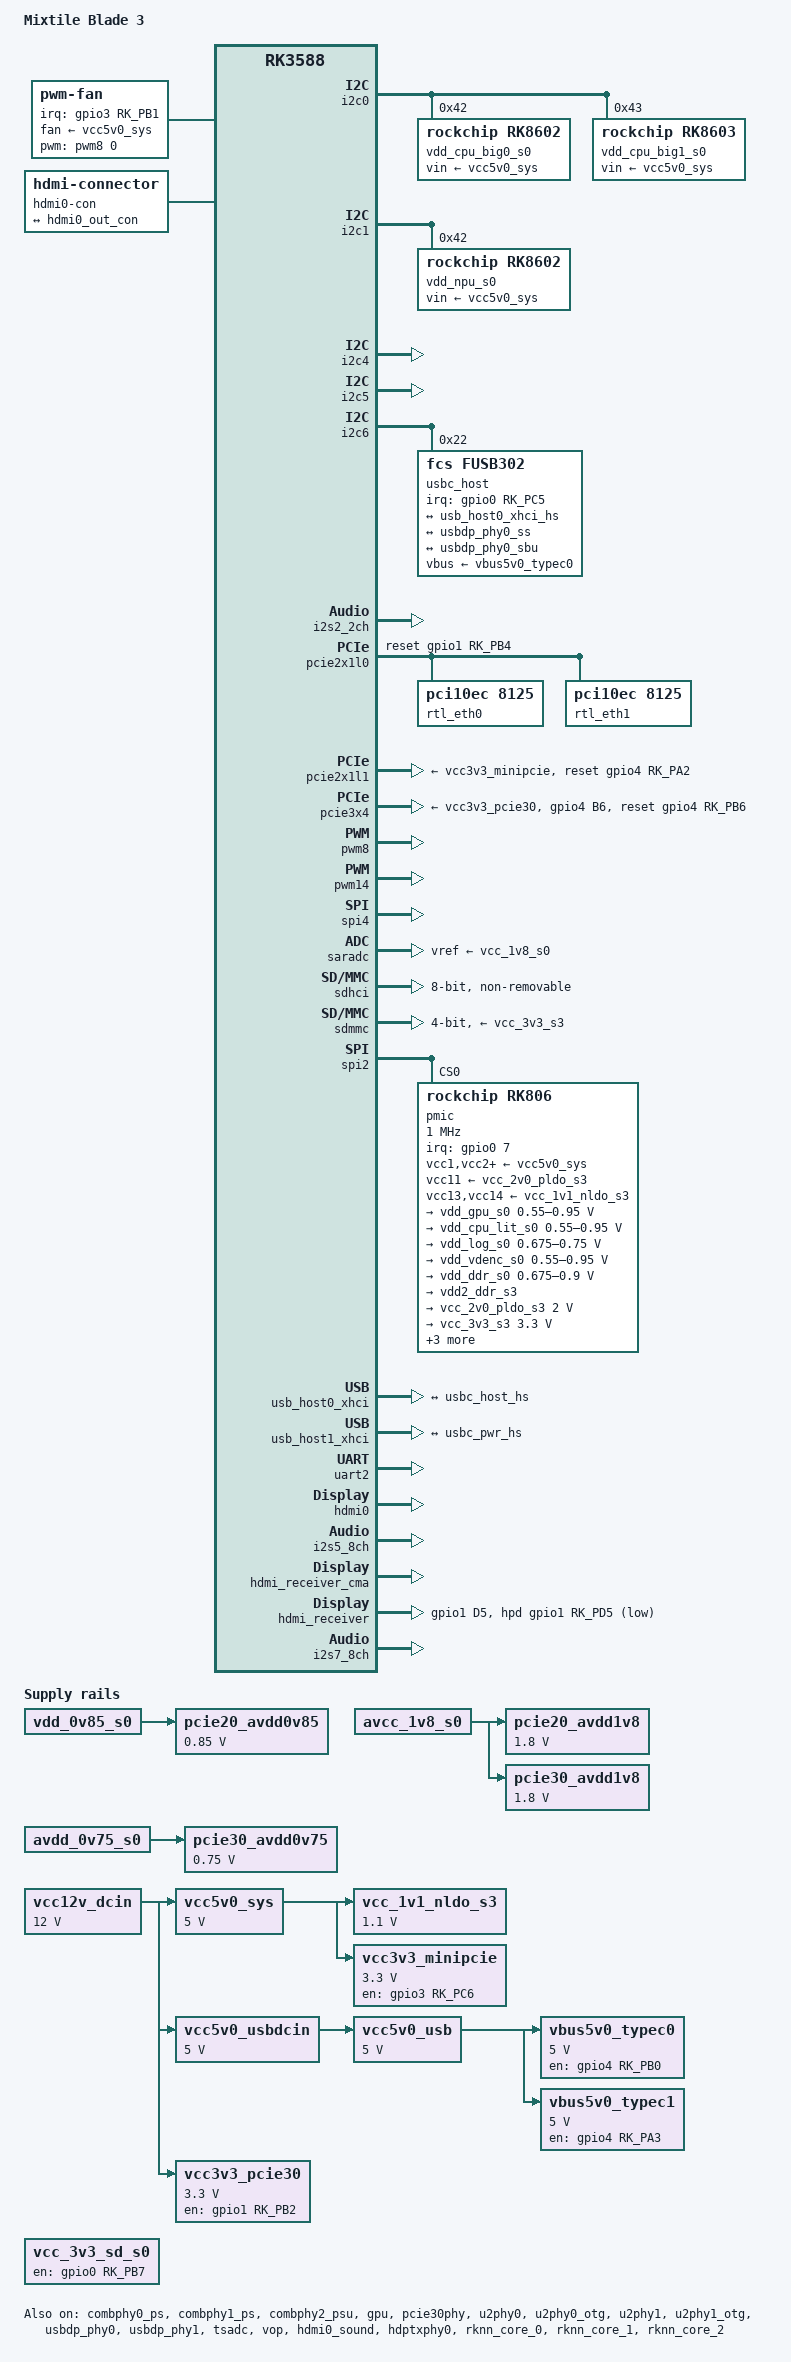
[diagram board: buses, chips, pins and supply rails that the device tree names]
// SPDX-License-Identifier: (GPL-2.0+ OR MIT)

// rpardini, mid 2026:
// - Any and all help is appreciated. Those boards are nice, they've 2 FUSB302, and fancy PCIe Endpoint mode stuff.
// - Schematics we have access to are in https://damwold5pt25n.cloudfront.net/blade3/file/Schematic_Blade_3_v1.1.0.pdf

/dts-v1/;

#include <dt-bindings/gpio/gpio.h>
#include <dt-bindings/pinctrl/rockchip.h>
#include <dt-bindings/usb/pd.h>
#include <dt-bindings/soc/rockchip,vop2.h>
#include "rk3588.dtsi"

/ {
	model = "Mixtile Blade 3";
	compatible = "mixtile,blade3", "rockchip,rk3588";

	aliases {
		ethernet0 = &rtl_eth0;
		ethernet1 = &rtl_eth1;
		mmc0 = &sdhci;
		mmc1 = &sdmmc;
		serial2 = &uart2;
	};

	chosen {
		stdout-path = "serial2:1500000n8";
	};

	fan: pwm-fan {
		compatible = "pwm-fan";
		#cooling-cells = <2>;
		cooling-levels = <0 50 100 150 200 255>;
		pwms = <&pwm8 0 250000 0>; /* aka GPIO3_D0 / PWM8_M2 On 4-pin fan header */
		fan-supply = <&vcc5v0_sys>;
		pulses-per-revolution = <2>;
		interrupt-parent = <&gpio3>;  /* GPIO GPIO3_B1/PWM2_M1 */
		interrupts = <RK_PB1 IRQ_TYPE_EDGE_FALLING>; // On 4-pin fan header
		status = "okay";
	};

	vcc12v_dcin: vcc12v-dcin-regulator {
		compatible = "regulator-fixed";
		regulator-name = "vcc12v_dcin";
		regulator-always-on;
		regulator-boot-on;
		regulator-min-microvolt = <12000000>;
		regulator-max-microvolt = <12000000>;
	};

	vcc5v0_sys: vcc5v0-sys-regulator {
		compatible = "regulator-fixed";
		regulator-name = "vcc5v0_sys";
		regulator-always-on;
		regulator-boot-on;
		regulator-min-microvolt = <5000000>;
		regulator-max-microvolt = <5000000>;
		vin-supply = <&vcc12v_dcin>;
	};

	vcc5v0_usbdcin: vcc5v0-usbdcin-regulator {
		compatible = "regulator-fixed";
		regulator-name = "vcc5v0_usbdcin";
		regulator-always-on;
		regulator-boot-on;
		regulator-min-microvolt = <5000000>;
		regulator-max-microvolt = <5000000>;
		vin-supply = <&vcc12v_dcin>;
	};

	vcc5v0_usb: vcc5v0-usb-regulator {
		compatible = "regulator-fixed";
		regulator-name = "vcc5v0_usb";
		regulator-always-on;
		regulator-boot-on;
		regulator-min-microvolt = <5000000>;
		regulator-max-microvolt = <5000000>;
		vin-supply = <&vcc5v0_usbdcin>;
	};

	/*
	 * Type-C VBUS source rails, gated by GPIO and managed by the tcpm/fusb302
	 * stack (vendor-faithful: NOT always-on). GPIO4_B0 (TYPEC5V_PWREN0) is the
	 * pin the vendor DT also labels vcc5v0_host_en: on this board it additionally
	 * gates power reaching the ASM1182e PCIe switch + RTL8125B NICs. If the
	 * switch/NICs fail to power on mainline (tcpm may not hold VBUS the way the
	 * vendor stack does), add "regulator-always-on;" to vbus5v0_typec0 to force
	 * GPIO4_B0 permanently high (Rock 5B vcc5v0_host pattern) -- this reliably
	 * powers the switch at the cost of Type-C0's ability to source 5V, an
	 * acceptable trade for a 12V-powered board.
	 */
	vbus5v0_typec0: vbus5v0-typec0-regulator {
		compatible = "regulator-fixed";
		regulator-name = "vbus5v0_typec0";
		regulator-min-microvolt = <5000000>;
		regulator-max-microvolt = <5000000>;
		enable-active-high;
		gpio = <&gpio4 RK_PB0 GPIO_ACTIVE_HIGH>;
		vin-supply = <&vcc5v0_usb>;
		pinctrl-names = "default";
		pinctrl-0 = <&typec5v_pwren0>;
	};

	vbus5v0_typec1: vbus5v0-typec1-regulator {
		compatible = "regulator-fixed";
		regulator-name = "vbus5v0_typec1";
		regulator-min-microvolt = <5000000>;
		regulator-max-microvolt = <5000000>;
		enable-active-high;
		gpio = <&gpio4 RK_PA3 GPIO_ACTIVE_HIGH>;
		vin-supply = <&vcc5v0_usb>;
		pinctrl-names = "default";
		pinctrl-0 = <&typec5v_pwren1>;
	};

	pcie20_avdd0v85: pcie20-avdd0v85-regulator {
		compatible = "regulator-fixed";
		regulator-name = "pcie20_avdd0v85";
		regulator-boot-on;
		regulator-always-on;
		regulator-min-microvolt = <850000>;
		regulator-max-microvolt = <850000>;
		vin-supply = <&vdd_0v85_s0>;
	};

	pcie20_avdd1v8: pcie20-avdd1v8-regulator {
		compatible = "regulator-fixed";
		regulator-name = "pcie20_avdd1v8";
		regulator-boot-on;
		regulator-always-on;
		regulator-min-microvolt = <1800000>;
		regulator-max-microvolt = <1800000>;
		vin-supply = <&avcc_1v8_s0>;
	};

	pcie30_avdd0v75: pcie30-avdd0v75-regulator {
		compatible = "regulator-fixed";
		regulator-name = "pcie30_avdd0v75";
		regulator-boot-on;
		regulator-always-on;
		regulator-min-microvolt = <750000>;
		regulator-max-microvolt = <750000>;
		vin-supply = <&avdd_0v75_s0>;
	};

	pcie30_avdd1v8: pcie30-avdd1v8-regulator {
		compatible = "regulator-fixed";
		regulator-name = "pcie30_avdd1v8";
		regulator-boot-on;
		regulator-always-on;
		regulator-min-microvolt = <1800000>;
		regulator-max-microvolt = <1800000>;
		vin-supply = <&avcc_1v8_s0>;
	};

	vcc3v3_pcie30: vcc3v3-pcie30-regulator {
		compatible = "regulator-fixed";
		regulator-name = "vcc3v3_pcie30";
		regulator-min-microvolt = <3300000>;
		regulator-max-microvolt = <3300000>;
		enable-active-high;
		regulator-boot-on;
		regulator-always-on;
		gpios = <&gpio1 RK_PB2 GPIO_ACTIVE_HIGH>;
		startup-delay-us = <5000>;
		vin-supply = <&vcc12v_dcin>;
		pinctrl-names = "default";
		pinctrl-0 = <&pcie3_vcc3v3_en>;
	};

	vcc_3v3_sd_s0: vcc-3v3-sd-s0-regulator {
		compatible = "regulator-fixed";
		regulator-name = "vcc_3v3_sd_s0";
		gpio = <&gpio0 RK_PB7 GPIO_ACTIVE_HIGH>;
		pinctrl-names = "default";
		pinctrl-0 = <&sdmmc_pwr>;
		enable-active-high;
	};

	vcc_1v1_nldo_s3: vcc-1v1-nldo-s3-regulator {
		compatible = "regulator-fixed";
		regulator-name = "vcc_1v1_nldo_s3";
		regulator-always-on;
		regulator-boot-on;
		regulator-min-microvolt = <1100000>;
		regulator-max-microvolt = <1100000>;
		vin-supply = <&vcc5v0_sys>;
	};

	/* miniPCIe 2.0 slot power enable; GPIO3_C6 = PCIE20_PWREN (schematic) */
	vcc3v3_minipcie: vcc3v3-minipcie-regulator {
		compatible = "regulator-fixed";
		regulator-name = "vcc3v3_minipcie";
		regulator-min-microvolt = <3300000>;
		regulator-max-microvolt = <3300000>;
		enable-active-high;
		gpio = <&gpio3 RK_PC6 GPIO_ACTIVE_HIGH>;
		startup-delay-us = <5000>;
		vin-supply = <&vcc5v0_sys>;
		pinctrl-names = "default";
		pinctrl-0 = <&minipcie_pwren>;
	};

	hdmi0-con {
		compatible = "hdmi-connector";
		type = "a";

		port {
			hdmi0_con_in: endpoint {
				remote-endpoint = <&hdmi0_out_con>;
			};
		};
	};
};

&combphy0_ps {
	status = "okay";
};

&combphy1_ps {
	status = "okay";
};

&combphy2_psu {
	status = "okay";
};

&cpu_b0 {
	cpu-supply = <&vdd_cpu_big0_s0>;
	mem-supply = <&vdd_cpu_big0_mem_s0>;
};

&cpu_b1 {
	cpu-supply = <&vdd_cpu_big0_s0>;
	mem-supply = <&vdd_cpu_big0_mem_s0>;
};

&cpu_b2 {
	cpu-supply = <&vdd_cpu_big1_s0>;
	mem-supply = <&vdd_cpu_big1_mem_s0>;
};

&cpu_b3 {
	cpu-supply = <&vdd_cpu_big1_s0>;
	mem-supply = <&vdd_cpu_big1_mem_s0>;
};

&cpu_l0 {
	cpu-supply = <&vdd_cpu_lit_s0>;
	mem-supply = <&vdd_cpu_lit_mem_s0>;
};

&cpu_l1 {
	cpu-supply = <&vdd_cpu_lit_s0>;
	mem-supply = <&vdd_cpu_lit_mem_s0>;
};

&cpu_l2 {
	cpu-supply = <&vdd_cpu_lit_s0>;
	mem-supply = <&vdd_cpu_lit_mem_s0>;
};

&cpu_l3 {
	cpu-supply = <&vdd_cpu_lit_s0>;
	mem-supply = <&vdd_cpu_lit_mem_s0>;
};

&gpu {
	mali-supply = <&vdd_gpu_s0>;
	status = "okay";
};

&i2c0 {
	pinctrl-names = "default";
	pinctrl-0 = <&i2c0m2_xfer>;
	status = "okay";

	vdd_cpu_big0_s0: vdd_cpu_big0_mem_s0: regulator@42 {
		compatible = "rockchip,rk8602";
		reg = <0x42>;
		fcs,suspend-voltage-selector = <1>;
		regulator-name = "vdd_cpu_big0_s0";
		regulator-always-on;
		regulator-boot-on;
		regulator-min-microvolt = <550000>;
		regulator-max-microvolt = <1050000>;
		regulator-ramp-delay = <2300>;
		vin-supply = <&vcc5v0_sys>;

		regulator-state-mem {
			regulator-off-in-suspend;
		};
	};

	vdd_cpu_big1_s0: vdd_cpu_big1_mem_s0: regulator@43 {
		compatible = "rockchip,rk8603", "rockchip,rk8602";
		reg = <0x43>;
		fcs,suspend-voltage-selector = <1>;
		regulator-name = "vdd_cpu_big1_s0";
		regulator-always-on;
		regulator-boot-on;
		regulator-min-microvolt = <550000>;
		regulator-max-microvolt = <1050000>;
		regulator-ramp-delay = <2300>;
		vin-supply = <&vcc5v0_sys>;

		regulator-state-mem {
			regulator-off-in-suspend;
		};
	};
};

&i2c1 {
	pinctrl-names = "default";
	pinctrl-0 = <&i2c1m2_xfer>;
	status = "okay";

	vdd_npu_s0: regulator@42 {
		compatible = "rockchip,rk8602";
		reg = <0x42>;
		fcs,suspend-voltage-selector = <1>;
		regulator-name = "vdd_npu_s0";
		regulator-boot-on;
		regulator-min-microvolt = <550000>;
		regulator-max-microvolt = <950000>;
		regulator-ramp-delay = <2300>;
		vin-supply = <&vcc5v0_sys>;

		regulator-state-mem {
			regulator-off-in-suspend;
		};
	};

	/*
	 * Type-C1 = the board's USB-C POWER-INPUT port. Its fusb302 negotiates PD
	 * (up to 20V) into the VCC12V~20V_DCIN rail. This negotiation is essential
	 * in u-boot (v2026.07, which shares this DT and ships tcpm+fusb302) for
	 * anyone powering the board over USB-C -- u-boot renegotiates early, within
	 * the PD spec window. NOTE (Rock 5B precedent): the Linux tcpm can send PD
	 * messages too late (>5s), making a PD supply hard-reset and thus reset the
	 * whole board; Rock 5B works around this by disabling its power-input
	 * fusb302 in the *kernel* (status = "fail").
	 */
	usbc_pwr: usb-typec@22 {
		compatible = "fcs,fusb302";
		reg = <0x22>;
		interrupt-parent = <&gpio0>;
		interrupts = <RK_PC6 IRQ_TYPE_LEVEL_LOW>;
		pinctrl-names = "default";
		pinctrl-0 = <&usbc_pwr_int>;
		vbus-supply = <&vbus5v0_typec1>;

		/*
		 * When the board is starting to send power-delivery messages
		 * too late (5 seconds according to the specification), the
		 * power-supply reacts with a hard-reset. That removes the
		 * power from VBUS for some time, which resets te whole board.
		 */
		status = "fail";

		usbc_pwr_con: connector {
			compatible = "usb-c-connector";
			label = "USB-C";
			data-role = "dual";
			/*
			 * Power-INPUT port: force sink so the fusb302 never
			 * presents Rp / sources 5V out vbus5v0_typec1. It only
			 * ever draws power into the VCC12V~20V_DCIN rail.
			 */
			power-role = "sink";
			/* fusb302 supports PD Rev 2.0 Ver 1.2 */
			pd-revision = /bits/ 8 <0x2 0x0 0x1 0x2>;
			op-sink-microwatt = <15000000>;
			/*
			 * VCC12V~20V_DCIN only supports 12V+, so the variable
			 * sink PDO starts at 12V and negotiation can't land on
			 * an unsupported 5V/9V contract. The mandatory vSafe5V
			 * fixed PDO stays (a sink must always advertise it).
			 */
			sink-pdos =
				<PDO_FIXED(5000, 3000, PDO_FIXED_USB_COMM)
				 PDO_VAR(12000, 20000, 5000)>;
			source-pdos =
				<PDO_FIXED(5000, 3000, PDO_FIXED_USB_COMM)>;

			altmodes {
				displayport {
					svid = /bits/ 16 <0xff01>;
					vdo = <0xffffffff>;
				};
			};

			ports {
				#address-cells = <1>;
				#size-cells = <0>;

				port@0 {
					reg = <0>;
					usbc_pwr_hs: endpoint {
						remote-endpoint = <&usb_host1_xhci_hs>;
					};
				};

				port@1 {
					reg = <1>;
					usbc_pwr_ss: endpoint {
						remote-endpoint = <&usbdp_phy1_ss>;
					};
				};

				port@2 {
					reg = <2>;
					usbc_pwr_sbu: endpoint {
						remote-endpoint = <&usbdp_phy1_sbu>;
					};
				};
			};
		};
	};
};

&i2c4 {
	pinctrl-0 = <&i2c4m0_xfer>;
	status = "okay";
};

/* exposed on the 30-pin connector; shows up as i2c-3 */
&i2c5 {
	pinctrl-0 = <&i2c5m3_xfer>;
	status = "okay";
};

/* USB Type-C 0 */
&i2c6 {
	pinctrl-names = "default";
	pinctrl-0 = <&i2c6m0_xfer>;
	status = "okay";

	usbc_host: usb-typec@22 {
		compatible = "fcs,fusb302";
		reg = <0x22>;
		interrupt-parent = <&gpio0>;
		interrupts = <RK_PC5 IRQ_TYPE_LEVEL_LOW>;
		pinctrl-names = "default";
		pinctrl-0 = <&usbc_host_int>;
		vbus-supply = <&vbus5v0_typec0>;
		status = "okay";

		usbc_host_con: connector {
			compatible = "usb-c-connector";
			label = "USB-C";
			data-role = "dual";
			power-role = "dual";
			try-power-role = "sink";
			/*
			 * PD is disabled on Type-C0: it is a USB3 data / host port that
			 * only needs to source 5V Type-C VBUS to attached devices. With PD
			 * enabled the fusb302/tcpm endlessly retries Source_Capabilities
			 * against non-PD USB devices ("PD retry failed"). VBUS sourcing is
			 * driven by the vbus5v0_typec0 regulator on Type-C attach and is
			 * unaffected. Type-C1 keeps PD -- it is the USB-C power-input port.
			 * typec-power-opmode is required by the binding when pd-disable is
			 * set; advertise 1.5A as the Type-C source current.
			 */
			pd-disable;
			typec-power-opmode = "1.5A";

			ports {
				#address-cells = <1>;
				#size-cells = <0>;

				port@0 {
					reg = <0>;
					usbc_host_hs: endpoint {
						remote-endpoint = <&usb_host0_xhci_hs>;
					};
				};

				port@1 {
					reg = <1>;
					usbc_host_ss: endpoint {
						remote-endpoint = <&usbdp_phy0_ss>;
					};
				};

				port@2 {
					reg = <2>;
					usbc_host_sbu: endpoint {
						remote-endpoint = <&usbdp_phy0_sbu>;
					};
				};
			};
		};
	};
};

&i2s2_2ch {
	pinctrl-names = "default";
	pinctrl-0 = <&i2s2m1_mclk
				 &i2s2m1_lrck
				 &i2s2m1_sclk
				 &i2s2m1_sdi
				 &i2s2m1_sdo>;
	status = "okay";
};

/* Temperature sensor near the center of the SoC */
&package_thermal {
	polling-delay = <1000>;

	trips {
		package_hot: package_hot {
			hysteresis = <2000>;
			temperature = <40000>; /* 40 celsius */
			type = "active";
		};
	};

	cooling-maps {
		map0 {
			cooling-device = <&fan THERMAL_NO_LIMIT THERMAL_NO_LIMIT>;
			trip = <&package_hot>;
		};
	};
};


&pcie2x1l0 { // combphy1, to ASM1182e
	reset-gpios = <&gpio1 RK_PB4 GPIO_ACTIVE_HIGH>;
	rockchip,init-delay-ms = <100>;
	//pinctrl-names = "default";
	//pinctrl-0 = <&pcie2_0_rst>;
	status = "okay";

	/*
	 * Describe the fixed PCIe topology on this port so the two soldered
	 * RTL8125 2.5GbE controllers get stable ethernet0/ethernet1 aliases and
	 * can take a fixed/nvmem MAC. Mirrors the enumerated hierarchy (domain
	 * 0002 in lspci):
	 *   20:00.0 RK3588 root port
	 *     21:00.0 ASM1182e switch upstream
	 *       22:03.0 downstream port -> 23:00.0 RTL8125 #0 (eth0)
	 *       22:07.0 downstream port -> 24:00.0 RTL8125 #1 (eth1)
	 * reg encodes the config address (bus << 16 | dev << 11 | fn << 8).
	 */
	pcie@0,0 {
		reg = <0x200000 0 0 0 0>;
		#address-cells = <3>;
		#size-cells = <2>;
		ranges;
		device_type = "pci";
		bus-range = <0x20 0x2f>;

		pcie@0,0 { // ASM1182e switch upstream port (21:00.0)
			reg = <0x210000 0 0 0 0>;
			#address-cells = <3>;
			#size-cells = <2>;
			ranges;
			device_type = "pci";
			bus-range = <0x22 0x24>;

			pcie@3,0 { // ASM1182e downstream port (22:03.0)
				reg = <0x221800 0 0 0 0>;
				#address-cells = <3>;
				#size-cells = <2>;
				ranges;
				device_type = "pci";
				bus-range = <0x23 0x23>;

				rtl_eth0: ethernet@0,0 { // RTL8125 #0 (23:00.0)
					compatible = "pci10ec,8125";
					reg = <0x230000 0 0 0 0>;
				};
			};

			pcie@7,0 { // ASM1182e downstream port (22:07.0)
				reg = <0x223800 0 0 0 0>;
				#address-cells = <3>;
				#size-cells = <2>;
				ranges;
				device_type = "pci";
				bus-range = <0x24 0x24>;

				rtl_eth1: ethernet@0,0 { // RTL8125 #1 (24:00.0)
					compatible = "pci10ec,8125";
					reg = <0x240000 0 0 0 0>;
				};
			};
		};
	};
};

&pcie2x1l1 { // combphy2, to miniPCIe socket
	reset-gpios = <&gpio4 RK_PA2 GPIO_ACTIVE_HIGH>;
	rockchip,init-delay-ms = <100>;
	vpcie3v3-supply = <&vcc3v3_minipcie>;
	//pinctrl-names = "default";
	//pinctrl-0 = <&pcie2_1_rst>;
	status = "okay";
};

&pcie30phy {
	status = "okay";
};

&pcie3x4 {
	reset-gpios = <&gpio4 RK_PB6 GPIO_ACTIVE_HIGH>;
	vpcie3v3-supply = <&vcc3v3_pcie30>;
	pinctrl-names = "default";
	pinctrl-0 = <&pcie3_rst>;
	status = "okay";
};

&pd_gpu {
	domain-supply = <&vdd_gpu_s0>;
};

&pinctrl {
	sdmmc {
		sdmmc_pwr: sdmmc-pwr {
			rockchip,pins = <0 RK_PB7 RK_FUNC_GPIO &pcfg_pull_up>;
		};
	};

	//pcie2 {
	//	pcie2_0_rst: pcie2-0-rst {
	//		rockchip,pins = <1 RK_PB4 RK_FUNC_GPIO &pcfg_pull_none>;
	//	};

	//	pcie2_1_rst: pcie2-1-rst {
	//		rockchip,pins = <4 RK_PA2 RK_FUNC_GPIO &pcfg_pull_none>;
	//	};
	//};

	pcie3 {
		pcie3_rst: pcie3-rst {
			rockchip,pins = <4 RK_PB6 RK_FUNC_GPIO &pcfg_pull_none>;
		};

		pcie3_vcc3v3_en: pcie3-vcc3v3-en {
			rockchip,pins = <1 RK_PB2 RK_FUNC_GPIO &pcfg_pull_up>;
			// drives a ETA5050V33S2F regulator for 3.3v to VCC3V3_PI6C
		};
	};

	usb-typec {
		usbc_host_int: usbc_host-int {
			rockchip,pins = <0 RK_PC5 RK_FUNC_GPIO &pcfg_pull_up>;
		};

		usbc_pwr_int: usbc_pwr-int {
			rockchip,pins = <0 RK_PC6 RK_FUNC_GPIO &pcfg_pull_up>;
		};

		/*
		 * GPIO4_B0 = TYPEC5V_PWREN0 enables Type-C0 VBUS AND (per the vendor DT's
		 * vcc5v0_host_en alias for the same pin) gates power reaching the ASM1182e
		 * PCIe switch + RTL8125B NICs. Owned by the vbus5v0_typec0 regulator.
		 */
		typec5v_pwren0: typec5v-pwren0 {
			rockchip,pins = <4 RK_PB0 RK_FUNC_GPIO &pcfg_pull_none>;
		};

		typec5v_pwren1: typec5v-pwren1 {
			rockchip,pins = <4 RK_PA3 RK_FUNC_GPIO &pcfg_pull_none>;
		};
	};

	pcie2 {
		minipcie_pwren: minipcie-pwren {
			/* GPIO3_C6 = PCIE20_PWREN, powers the miniPCIe 2.0 slot */
			rockchip,pins = <3 RK_PC6 RK_FUNC_GPIO &pcfg_pull_none>;
		};
	};

	hdmirx {
		hdmirx_hpd: hdmirx-5v-detection {
			rockchip,pins = <1 RK_PD5 RK_FUNC_GPIO &pcfg_pull_up>;
		};
	};
};

&pwm8 { // 4-pin FAN HEADER, PWM OUTPUT
	pinctrl-0 = <&pwm8m2_pins>;
	status = "okay";
};

&pwm14 {
	pinctrl-0 = <&pwm14m2_pins>;
	status = "okay";
};

&pwm15 {
	pinctrl-0 = <&pwm15m3_pins>;
	status = "disabled";
};

&spi4 {
	pinctrl-names = "default";
	pinctrl-0 = <&spi4m2_cs0 &spi4m2_pins>;
	num-cs = <1>;
	status = "okay";
};

&saradc {
	status = "okay";
	vref-supply = <&vcc_1v8_s0>;
};

&sdhci {
	bus-width = <8>;
	no-sdio;
	no-sd;
	non-removable;
	max-frequency = <200000000>;
	// hs400 causes immediate trouble, hs200 works at around 150mb/s
	// mmc-hs400-1_8v;
	// mmc-hs400-enhanced-strobe;
	mmc-hs200-1_8v;
	status = "okay";
};

&sdmmc {
	max-frequency = <150000000>;
	no-sdio;
	no-mmc;
	bus-width = <4>;
	cap-mmc-highspeed;
	cap-sd-highspeed;
	disable-wp;
	sd-uhs-sdr104;
	vmmc-supply = <&vcc_3v3_s3>;
	vqmmc-supply = <&vccio_sd_s0>;
	status = "okay";
};

&spi2 {
	status = "okay";
	assigned-clocks = <&cru CLK_SPI2>;
	assigned-clock-rates = <200000000>;
	pinctrl-names = "default";
	pinctrl-0 = <&spi2m2_cs0 &spi2m2_pins>;
	num-cs = <1>;

	pmic@0 {
		compatible = "rockchip,rk806";
		spi-max-frequency = <1000000>;
		reg = <0x0>;

		interrupt-parent = <&gpio0>;
		interrupts = <7 IRQ_TYPE_LEVEL_LOW>;

		pinctrl-names = "default";
		pinctrl-0 = <&pmic_pins>, <&rk806_dvs1_null>,
			    <&rk806_dvs2_null>, <&rk806_dvs3_null>;

		vcc1-supply = <&vcc5v0_sys>;
		vcc2-supply = <&vcc5v0_sys>;
		vcc3-supply = <&vcc5v0_sys>;
		vcc4-supply = <&vcc5v0_sys>;
		vcc5-supply = <&vcc5v0_sys>;
		vcc6-supply = <&vcc5v0_sys>;
		vcc7-supply = <&vcc5v0_sys>;
		vcc8-supply = <&vcc5v0_sys>;
		vcc9-supply = <&vcc5v0_sys>;
		vcc10-supply = <&vcc5v0_sys>;
		vcc11-supply = <&vcc_2v0_pldo_s3>;
		vcc12-supply = <&vcc5v0_sys>;
		vcc13-supply = <&vcc_1v1_nldo_s3>;
		vcc14-supply = <&vcc_1v1_nldo_s3>;
		vcca-supply = <&vcc5v0_sys>;

		gpio-controller;
		#gpio-cells = <2>;

		rk806_dvs1_null: dvs1-null-pins {
			pins = "gpio_pwrctrl2";
			function = "pin_fun0";
		};

		rk806_dvs2_null: dvs2-null-pins {
			pins = "gpio_pwrctrl2";
			function = "pin_fun0";
		};

		rk806_dvs3_null: dvs3-null-pins {
			pins = "gpio_pwrctrl3";
			function = "pin_fun0";
		};

		regulators {
			vdd_gpu_s0: vdd_gpu_mem_s0: dcdc-reg1 {
				regulator-boot-on;
				regulator-min-microvolt = <550000>;
				regulator-max-microvolt = <950000>;
				regulator-ramp-delay = <12500>;
				regulator-name = "vdd_gpu_s0";
				regulator-enable-ramp-delay = <400>;

				regulator-state-mem {
					regulator-off-in-suspend;
				};
			};

			vdd_cpu_lit_s0: vdd_cpu_lit_mem_s0: dcdc-reg2 {
				regulator-always-on;
				regulator-boot-on;
				regulator-min-microvolt = <550000>;
				regulator-max-microvolt = <950000>;
				regulator-ramp-delay = <12500>;
				regulator-name = "vdd_cpu_lit_s0";

				regulator-state-mem {
					regulator-off-in-suspend;
				};
			};

			vdd_log_s0: dcdc-reg3 {
				regulator-always-on;
				regulator-boot-on;
				regulator-min-microvolt = <675000>;
				regulator-max-microvolt = <750000>;
				regulator-ramp-delay = <12500>;
				regulator-name = "vdd_log_s0";

				regulator-state-mem {
					regulator-off-in-suspend;
					regulator-suspend-microvolt = <750000>;
				};
			};

			vdd_vdenc_s0: vdd_vdenc_mem_s0: dcdc-reg4 {
				regulator-always-on;
				regulator-boot-on;
				regulator-min-microvolt = <550000>;
				regulator-max-microvolt = <950000>;
				regulator-ramp-delay = <12500>;
				regulator-name = "vdd_vdenc_s0";

				regulator-state-mem {
					regulator-off-in-suspend;
				};
			};

			vdd_ddr_s0: dcdc-reg5 {
				regulator-always-on;
				regulator-boot-on;
				regulator-min-microvolt = <675000>;
				regulator-max-microvolt = <900000>;
				regulator-ramp-delay = <12500>;
				regulator-name = "vdd_ddr_s0";

				regulator-state-mem {
					regulator-off-in-suspend;
					regulator-suspend-microvolt = <850000>;
				};
			};

			vdd2_ddr_s3: dcdc-reg6 {
				regulator-always-on;
				regulator-boot-on;
				regulator-name = "vdd2_ddr_s3";

				regulator-state-mem {
					regulator-on-in-suspend;
				};
			};

			vcc_2v0_pldo_s3: dcdc-reg7 {
				regulator-always-on;
				regulator-boot-on;
				regulator-min-microvolt = <2000000>;
				regulator-max-microvolt = <2000000>;
				regulator-ramp-delay = <12500>;
				regulator-name = "vdd_2v0_pldo_s3";

				regulator-state-mem {
					regulator-on-in-suspend;
					regulator-suspend-microvolt = <2000000>;
				};
			};

			vcc_3v3_s3: dcdc-reg8 {
				regulator-always-on;
				regulator-boot-on;
				regulator-min-microvolt = <3300000>;
				regulator-max-microvolt = <3300000>;
				regulator-name = "vcc_3v3_s3";

				regulator-state-mem {
					regulator-on-in-suspend;
					regulator-suspend-microvolt = <3300000>;
				};
			};

			vddq_ddr_s0: dcdc-reg9 {
				regulator-always-on;
				regulator-boot-on;
				regulator-name = "vddq_ddr_s0";

				regulator-state-mem {
					regulator-off-in-suspend;
				};
			};

			vcc_1v8_s3: dcdc-reg10 {
				regulator-always-on;
				regulator-boot-on;
				regulator-min-microvolt = <1800000>;
				regulator-max-microvolt = <1800000>;
				regulator-name = "vcc_1v8_s3";

				regulator-state-mem {
					regulator-on-in-suspend;
					regulator-suspend-microvolt = <1800000>;
				};
			};

			avcc_1v8_s0: pldo-reg1 {
				regulator-always-on;
				regulator-boot-on;
				regulator-min-microvolt = <1800000>;
				regulator-max-microvolt = <1800000>;
				regulator-name = "avcc_1v8_s0";

				regulator-state-mem {
					regulator-off-in-suspend;
				};
			};

			vcc_1v8_s0: pldo-reg2 {
				regulator-always-on;
				regulator-boot-on;
				regulator-min-microvolt = <1800000>;
				regulator-max-microvolt = <1800000>;
				regulator-name = "vcc_1v8_s0";

				regulator-state-mem {
					regulator-off-in-suspend;
					regulator-suspend-microvolt = <1800000>;
				};
			};

			avdd_1v2_s0: pldo-reg3 {
				regulator-always-on;
				regulator-boot-on;
				regulator-min-microvolt = <1200000>;
				regulator-max-microvolt = <1200000>;
				regulator-name = "avdd_1v2_s0";

				regulator-state-mem {
					regulator-off-in-suspend;
				};
			};

			vcc_3v3_s0: pldo-reg4 {
				regulator-always-on;
				regulator-boot-on;
				regulator-min-microvolt = <3300000>;
				regulator-max-microvolt = <3300000>;
				regulator-ramp-delay = <12500>;
				regulator-name = "vcc_3v3_s0";

				regulator-state-mem {
					regulator-off-in-suspend;
				};
			};

			vccio_sd_s0: pldo-reg5 {
				regulator-always-on;
				regulator-boot-on;
				regulator-min-microvolt = <1800000>;
				regulator-max-microvolt = <3300000>;
				regulator-ramp-delay = <12500>;
				regulator-name = "vccio_sd_s0";

				regulator-state-mem {
					regulator-off-in-suspend;
				};
			};

			pldo6_s3: pldo-reg6 {
				regulator-always-on;
				regulator-boot-on;
				regulator-min-microvolt = <1800000>;
				regulator-max-microvolt = <1800000>;
				regulator-name = "pldo6_s3";

				regulator-state-mem {
					regulator-on-in-suspend;
					regulator-suspend-microvolt = <1800000>;
				};
			};

			vdd_0v75_s3: nldo-reg1 {
				regulator-always-on;
				regulator-boot-on;
				regulator-min-microvolt = <750000>;
				regulator-max-microvolt = <750000>;
				regulator-name = "vdd_0v75_s3";

				regulator-state-mem {
					regulator-on-in-suspend;
					regulator-suspend-microvolt = <750000>;
				};
			};

			vdd_ddr_pll_s0: nldo-reg2 {
				regulator-always-on;
				regulator-boot-on;
				regulator-min-microvolt = <850000>;
				regulator-max-microvolt = <850000>;
				regulator-name = "vdd_ddr_pll_s0";

				regulator-state-mem {
					regulator-off-in-suspend;
					regulator-suspend-microvolt = <850000>;
				};
			};

			avdd_0v75_s0: nldo-reg3 {
				regulator-always-on;
				regulator-boot-on;
				regulator-min-microvolt = <750000>;
				regulator-max-microvolt = <750000>;
				regulator-name = "avdd_0v75_s0";

				regulator-state-mem {
					regulator-off-in-suspend;
				};
			};

			vdd_0v85_s0: nldo-reg4 {
				regulator-always-on;
				regulator-boot-on;
				regulator-min-microvolt = <850000>;
				regulator-max-microvolt = <850000>;
				regulator-name = "vdd_0v85_s0";

				regulator-state-mem {
					regulator-off-in-suspend;
				};
			};

			vdd_0v75_s0: nldo-reg5 {
				regulator-always-on;
				regulator-boot-on;
				regulator-min-microvolt = <750000>;
				regulator-max-microvolt = <750000>;
				regulator-name = "vdd_0v75_s0";

				regulator-state-mem {
					regulator-off-in-suspend;
				};
			};
		};
	};
};

/* USB2 OTG phys for the two Type-C ports */
&u2phy0 {
	status = "okay";
};

&u2phy0_otg {
	status = "okay";
};

&u2phy1 {
	status = "okay";
};

&u2phy1_otg {
	status = "okay";
};

/* USB3+DP combo phys; orientation/mode switch driven by the fusb302 tcpm.
 * sbu*-dc-gpios drive the SBU/AUX orientation mux (values from the vendor DT).
 */
&usbdp_phy0 {
	mode-switch;
	orientation-switch;
	sbu1-dc-gpios = <&gpio4 RK_PA6 GPIO_ACTIVE_HIGH>;
	sbu2-dc-gpios = <&gpio4 RK_PA7 GPIO_ACTIVE_HIGH>;
	status = "okay";

	port {
		#address-cells = <1>;
		#size-cells = <0>;

		usbdp_phy0_ss: endpoint@0 {
			reg = <0>;
			remote-endpoint = <&usbc_host_ss>;
		};

		usbdp_phy0_sbu: endpoint@1 {
			reg = <1>;
			remote-endpoint = <&usbc_host_sbu>;
		};
	};
};

&usbdp_phy1 {
	mode-switch;
	orientation-switch;
	sbu1-dc-gpios = <&gpio4 RK_PA4 GPIO_ACTIVE_HIGH>;
	sbu2-dc-gpios = <&gpio4 RK_PA5 GPIO_ACTIVE_HIGH>;
	status = "okay";

	port {
		#address-cells = <1>;
		#size-cells = <0>;

		usbdp_phy1_ss: endpoint@0 {
			reg = <0>;
			remote-endpoint = <&usbc_pwr_ss>;
		};

		usbdp_phy1_sbu: endpoint@1 {
			reg = <1>;
			remote-endpoint = <&usbc_pwr_sbu>;
		};
	};
};

/* USB3 OTG (dwc3) controllers; base already sets dr_mode = "otg" + phys */
&usb_host0_xhci {
	usb-role-switch;
	status = "okay";

	port {
		usb_host0_xhci_hs: endpoint {
			remote-endpoint = <&usbc_host_hs>;
		};
	};
};

&usb_host1_xhci {
	usb-role-switch;
	status = "okay";

	port {
		usb_host1_xhci_hs: endpoint {
			remote-endpoint = <&usbc_pwr_hs>;
		};
	};
};

&tsadc {
	status = "okay";
};

&uart2 {
	pinctrl-0 = <&uart2m0_xfer>;
	status = "okay";
};

/* CAN2 exposed on the 30-pin header; routed on can2_m0 (GPIO3_C4/C5) per schematic */
/* Disabled as it is not in mainline yet
&can2 {
	pinctrl-names = "default";
	pinctrl-0 = <&can2m0_pins>;
	assigned-clocks = <&cru CLK_CAN2>;
	assigned-clock-rates = <300000000>;
	status = "okay";
};
*/

&vop {
	status = "okay";
};

&vop_mmu {
	status = "okay";
};

&vp0 {
	vp0_out_hdmi0: endpoint@ROCKCHIP_VOP2_EP_HDMI0 {
		reg = <ROCKCHIP_VOP2_EP_HDMI0>;
		remote-endpoint = <&hdmi0_in_vp0>;
	};
};

&hdmi0 {
	status = "okay";
};

&hdmi0_in {
	hdmi0_in_vp0: endpoint {
		remote-endpoint = <&vp0_out_hdmi0>;
	};
};

&hdmi0_out {
	hdmi0_out_con: endpoint {
		remote-endpoint = <&hdmi0_con_in>;
	};
};

&hdmi0_sound {
	status = "okay";
};

&hdptxphy0 {
	status = "okay";
};

/* HDMI0 audio */
&i2s5_8ch {
	status = "okay";
};

/* HDMI-RX (input capture) on this board; HPD/5V-detect on GPIO1_D5 */
&hdmi_receiver_cma {
	status = "okay";
};

&hdmi_receiver {
	hpd-gpios = <&gpio1 RK_PD5 GPIO_ACTIVE_LOW>;
	pinctrl-names = "default";
	pinctrl-0 = <&hdmim1_rx_cec &hdmim1_rx_hpdin &hdmim1_rx_scl &hdmim1_rx_sda &hdmirx_hpd>;
	status = "okay";
};

/* HDMI-RX audio */
&i2s7_8ch {
	status = "okay";
};

/* NPU (rocket driver); rails from vdd_npu_s0 on i2c1 */
&pd_npu {
	domain-supply = <&vdd_npu_s0>;
};

&rknn_core_0 {
	npu-supply = <&vdd_npu_s0>;
	sram-supply = <&vdd_npu_s0>;
	status = "okay";
};

&rknn_core_1 {
	npu-supply = <&vdd_npu_s0>;
	sram-supply = <&vdd_npu_s0>;
	status = "okay";
};

&rknn_core_2 {
	npu-supply = <&vdd_npu_s0>;
	sram-supply = <&vdd_npu_s0>;
	status = "okay";
};

&rknn_mmu_0 {
	status = "okay";
};

&rknn_mmu_1 {
	status = "okay";
};

&rknn_mmu_2 {
	status = "okay";
};
